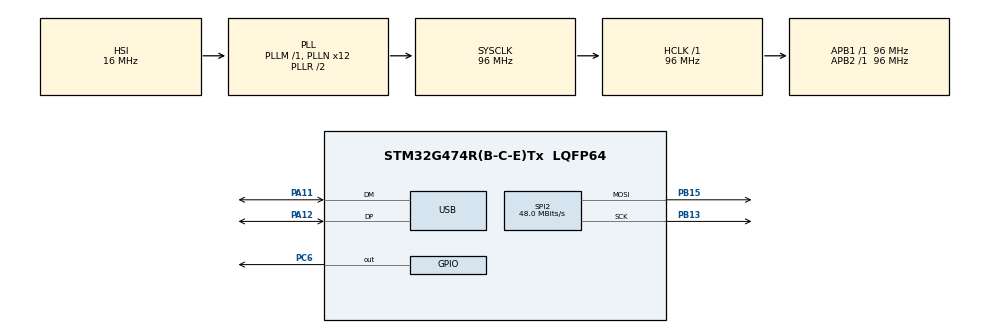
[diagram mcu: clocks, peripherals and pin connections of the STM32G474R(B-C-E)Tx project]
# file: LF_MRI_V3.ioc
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Mcu.Family=STM32G4
Mcu.Name=STM32G474R(B-C-E)Tx
Mcu.Package=LQFP64
NVIC.PriorityGroup=NVIC_PRIORITYGROUP_4
NVIC.TIM6_DAC_IRQn=true\:0\:0\:false\:false\:true\:true\:true\:true
NVIC.USB_LP_IRQn=true\:0\:0\:false\:false\:true\:false\:true\:true
PA11.Mode=Device
PA11.Signal=USB_DM
PA12.Mode=Device
PA12.Signal=USB_DP
PB13.Mode=TX_Only_Simplex_Unidirect_Master
PB13.Signal=SPI2_SCK
PB15.Mode=TX_Only_Simplex_Unidirect_Master
PB15.Signal=SPI2_MOSI
PC6.GPIO_PuPd=GPIO_PULLUP
PC6.Signal=GPIO_Output
PF0-OSC_IN.Mode=HSE-External-Oscillator
PF0-OSC_IN.Signal=RCC_OSC_IN
PF1-OSC_OUT.Mode=HSE-External-Oscillator
PF1-OSC_OUT.Signal=RCC_OSC_OUT
ProjectManager.HeapSize=0x200
ProjectManager.StackSize=0x400
ProjectManager.TargetToolchain=STM32CubeIDE
RCC.ADC12Freq_Value=96000000
RCC.ADC345Freq_Value=96000000
RCC.AHBFreq_Value=96000000
RCC.APB1Freq_Value=96000000
RCC.APB1TimFreq_Value=96000000
RCC.APB2Freq_Value=96000000
RCC.APB2TimFreq_Value=96000000
RCC.CortexFreq_Value=96000000
RCC.EXTERNAL_CLOCK_VALUE=12288000
RCC.HCLKFreq_Value=96000000
RCC.HSE_VALUE=25000000
RCC.HSI48_VALUE=48000000
RCC.HSI_VALUE=16000000
RCC.LSE_VALUE=32768
RCC.PLLN=12
RCC.PLLQ=RCC_PLLQ_DIV4
RCC.SYSCLKFreq_VALUE=96000000
RCC.SYSCLKSource=RCC_SYSCLKSOURCE_PLLCLK
RCC.USBFreq_Value=48000000
RCC.VCOOutputFreq_Value=192000000
SPI2.CLKPhase=SPI_PHASE_2EDGE
SPI2.CalculateBaudRate=48.0 MBits/s
SPI2.DataSize=SPI_DATASIZE_16BIT
SPI2.Direction=SPI_DIRECTION_2LINES
SPI2.Mode=SPI_MODE_MASTER
SPI2.VirtualType=VM_MASTER
TIM6.Dithering=Disable
TIM6.Prescaler=1
TIM6.TIM_MasterOutputTrigger=TIM_TRGO_ENABLE
USB_DEVICE.CLASS_NAME_FS=CDC
USB_DEVICE.VirtualMode=Cdc
USB_DEVICE.VirtualModeFS=Cdc_FS
VP_SYS_VS_DBSignals.Mode=DisableDeadBatterySignals
VP_TIM6_VS_ClockSourceINT.Mode=Enable_Timer
VP_USB_DEVICE_VS_USB_DEVICE_CDC_FS.Mode=CDC_FS
board=custom

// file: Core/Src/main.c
/* USER CODE BEGIN Header */
/**
  ******************************************************************************
  * @file           : main.c
  * @brief          : Main program body
  ******************************************************************************
  * @attention
  *
  * Copyright (c) 2025 STMicroelectronics.
  * All rights reserved.
  *
  * This software is licensed under terms that can be found in the LICENSE file
  * in the root directory of this software component.
  * If no LICENSE file comes with this software, it is provided AS-IS.
  *
  ******************************************************************************
  */
/* USER CODE END Header */
#include "main.h"
#include "usb_device.h"

/* USER CODE BEGIN Includes */
/* Includes ------------------------------------------------------------------*/
#include <stdio.h>
#include <string.h>
#include "DDS_Driver.h"
#include "usbd_cdc_if.h"

/* USER CODE END Includes */

/* USER CODE BEGIN PTD */
SPI_HandleTypeDef hspi2;
TIM_HandleTypeDef htim6;
/* USER CODE END PTD */

/* USER CODE BEGIN PV */
/* Private variables ---------------------------------------------------------*/

/* USER CODE END PV */

/* USER CODE BEGIN PFP */
/* Private function prototypes -----------------------------------------------*/
void SystemClock_Config(void);
static void MX_GPIO_Init(void);
static void MX_TIM6_Init(void);
static void MX_SPI2_Init(void);

/* USER CODE END PFP */

/* USER CODE BEGIN 0 */

char *data = "DDC USB Testing is valid\n";

int console_write(int file, char *ptr, int len) {
    CDC_Transmit_FS((uint8_t*)ptr, len);  // Send data via USB CDC
    return len;
}

/* USER CODE END 0 */

void SystemClock_Config(void)
{
  RCC_OscInitTypeDef RCC_OscInitStruct = {0};
  RCC_ClkInitTypeDef RCC_ClkInitStruct = {0};

  /** Configure the main internal regulator output voltage
  */
  HAL_PWREx_ControlVoltageScaling(PWR_REGULATOR_VOLTAGE_SCALE1);

  /** Initializes the RCC Oscillators according to the specified parameters
  * in the RCC_OscInitTypeDef structure.
  */
  RCC_OscInitStruct.OscillatorType = RCC_OSCILLATORTYPE_HSI;
  RCC_OscInitStruct.HSIState = RCC_HSI_ON;
  RCC_OscInitStruct.HSICalibrationValue = RCC_HSICALIBRATION_DEFAULT;
  RCC_OscInitStruct.PLL.PLLState = RCC_PLL_ON;
  RCC_OscInitStruct.PLL.PLLSource = RCC_PLLSOURCE_HSI;
  RCC_OscInitStruct.PLL.PLLM = RCC_PLLM_DIV1;
  RCC_OscInitStruct.PLL.PLLN = 12;
  RCC_OscInitStruct.PLL.PLLP = RCC_PLLP_DIV2;
  RCC_OscInitStruct.PLL.PLLQ = RCC_PLLQ_DIV4;
  RCC_OscInitStruct.PLL.PLLR = RCC_PLLR_DIV2;
  if (HAL_RCC_OscConfig(&RCC_OscInitStruct) != HAL_OK)
  {
    Error_Handler();
  }

  /** Initializes the CPU, AHB and APB buses clocks
  */
  RCC_ClkInitStruct.ClockType = RCC_CLOCKTYPE_HCLK|RCC_CLOCKTYPE_SYSCLK
                              |RCC_CLOCKTYPE_PCLK1|RCC_CLOCKTYPE_PCLK2;
  RCC_ClkInitStruct.SYSCLKSource = RCC_SYSCLKSOURCE_PLLCLK;
  RCC_ClkInitStruct.AHBCLKDivider = RCC_SYSCLK_DIV1;
  RCC_ClkInitStruct.APB1CLKDivider = RCC_HCLK_DIV1;
  RCC_ClkInitStruct.APB2CLKDivider = RCC_HCLK_DIV1;

  if (HAL_RCC_ClockConfig(&RCC_ClkInitStruct, FLASH_LATENCY_3) != HAL_OK)
  {
    Error_Handler();
  }
}

static void MX_SPI2_Init(void)
{

  /* SPI2 parameter configuration*/
  hspi2.Instance = SPI2;
  hspi2.Init.Mode = SPI_MODE_MASTER;
  hspi2.Init.Direction = SPI_DIRECTION_2LINES;
  hspi2.Init.DataSize = SPI_DATASIZE_16BIT;
  hspi2.Init.CLKPolarity = SPI_POLARITY_HIGH;
  hspi2.Init.CLKPhase = SPI_PHASE_1EDGE;
  hspi2.Init.NSS = SPI_NSS_SOFT;
  hspi2.Init.BaudRatePrescaler = SPI_BAUDRATEPRESCALER_4;
  hspi2.Init.FirstBit = SPI_FIRSTBIT_MSB;
  hspi2.Init.TIMode = SPI_TIMODE_DISABLE;
  hspi2.Init.CRCCalculation = SPI_CRCCALCULATION_DISABLE;
  hspi2.Init.CRCPolynomial = 7;
  hspi2.Init.CRCLength = SPI_CRC_LENGTH_DATASIZE;
  hspi2.Init.NSSPMode = SPI_NSS_PULSE_DISABLE;
  if (HAL_SPI_Init(&hspi2) != HAL_OK)
  {
    Error_Handler();
  }
}

static void MX_TIM6_Init(void)
{

  TIM_MasterConfigTypeDef sMasterConfig = {0};

  /* USER CODE BEGIN TIM6_Init 1 */
  htim6.Instance = TIM6;
  htim6.Init.Prescaler = 1;
  htim6.Init.CounterMode = TIM_COUNTERMODE_UP;
  htim6.Init.Period = 65535;
  htim6.Init.AutoReloadPreload = TIM_AUTORELOAD_PRELOAD_DISABLE;
  if (HAL_TIM_Base_Init(&htim6) != HAL_OK)
  {
    Error_Handler();
  }
  sMasterConfig.MasterOutputTrigger = TIM_TRGO_ENABLE;
  sMasterConfig.MasterSlaveMode = TIM_MASTERSLAVEMODE_DISABLE;
  if (HAL_TIMEx_MasterConfigSynchronization(&htim6, &sMasterConfig) != HAL_OK)
  {
    Error_Handler();
  }
  /* USER CODE END TIM6_Init 1 */
}

static void MX_GPIO_Init(void)
{
  /* USER CODE BEGIN MX_GPIO_Init_1 */
  GPIO_InitTypeDef GPIO_InitStruct = {0};
  /* GPIO Ports Clock Enable */
  __HAL_RCC_GPIOF_CLK_ENABLE();
  __HAL_RCC_GPIOB_CLK_ENABLE();
  __HAL_RCC_GPIOC_CLK_ENABLE();
  __HAL_RCC_GPIOA_CLK_ENABLE();

  /*Configure GPIO pin Output Level */
  HAL_GPIO_WritePin(GPIOC, GPIO_PIN_6, GPIO_PIN_RESET);

  /*Configure GPIO pin : PC6 */
  GPIO_InitStruct.Pin = GPIO_PIN_6;
  GPIO_InitStruct.Mode = GPIO_MODE_OUTPUT_PP;
  GPIO_InitStruct.Pull = GPIO_PULLUP;
  GPIO_InitStruct.Speed = GPIO_SPEED_FREQ_LOW;
  HAL_GPIO_Init(GPIOC, &GPIO_InitStruct);
  /* USER CODE END MX_GPIO_Init_1 */
}

int main(void)
{

  /* MCU Configuration--------------------------------------------------------*/

  /* User defined variables */
  uint32_t freq = 1000000; 	// Frequency, Hz
  uint16_t phase = 0; 		// Phase, Rads
  /* Reset of all peripherals, Initializes the Flash interface and the Systick. */
  HAL_Init();

  /* Configure the system clock */
  SystemClock_Config();

  /* Initialize all configured peripherals */
  MX_GPIO_Init();
  MX_TIM6_Init();
  MX_SPI2_Init();
  MX_USB_Device_Init();

  /* USER CODE BEGIN 2 */

  /* DDS Init and parameter configurations */
  AD9833_Init(); 	// Initialise the DDS
  //AD9833_WaveSet(freq, phase);
  //AD9833_EnableContinuousOutput(); // Keep DDS running continuously

  /* USER CODE END 2 */

  /* Infinite loop */
  /* USER CODE BEGIN WHILE */
  while (1) {
	  AD9833_WaveSet(freq, phase);
	  HAL_Delay(5000);
  }

  /* USER CODE END 3 */
}

void Error_Handler(void)
{
  __disable_irq();
  while (1){
  }
}
